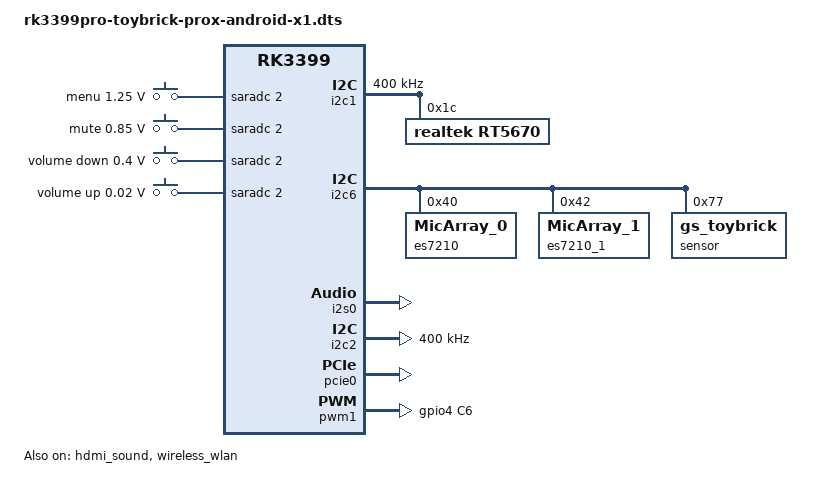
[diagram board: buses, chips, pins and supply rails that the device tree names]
// SPDX-License-Identifier: (GPL-2.0+ OR MIT)
/*
 * Copyright (c) 2019 Fuzhou Rockchip Electronics Co., Ltd
 *
 * This file is dual-licensed: you can use it either under the terms
 * of the GPL or the X11 license, at your option. Note that this dual
 * licensing only applies to this file, and not this project as a
 * whole.
 *
 *  a) This file is free software; you can redistribute it and/or
 *     modify it under the terms of the GNU General Public License as
 *     published by the Free Software Foundation; either version 2 of the
 *     License, or (at your option) any later version.
 *
 *     This file is distributed in the hope that it will be useful,
 *     but WITHOUT ANY WARRANTY; without even the implied warranty of
 *     MERCHANTABILITY or FITNESS FOR A PARTICULAR PURPOSE.  See the
 *     GNU General Public License for more details.
 *
 * Or, alternatively,
 *
 *  b) Permission is hereby granted, free of charge, to any person
 *     obtaining a copy of this software and associated documentation
 *     files (the "Software"), to deal in the Software without
 *     restriction, including without limitation the rights to use,
 *     copy, modify, merge, publish, distribute, sublicense, and/or
 *     sell copies of the Software, and to permit persons to whom the
 *     Software is furnished to do so, subject to the following
 *     conditions:
 *
 *     The above copyright notice and this permission notice shall be
 *     included in all copies or substantial portions of the Software.
 *
 *     THE SOFTWARE IS PROVIDED "AS IS", WITHOUT WARRANTY OF ANY KIND,
 *     EXPRESS OR IMPLIED, INCLUDING BUT NOT LIMITED TO THE WARRANTIES
 *     OF MERCHANTABILITY, FITNESS FOR A PARTICULAR PURPOSE AND
 *     NONINFRINGEMENT. IN NO EVENT SHALL THE AUTHORS OR COPYRIGHT
 *     HOLDERS BE LIABLE FOR ANY CLAIM, DAMAGES OR OTHER LIABILITY,
 *     WHETHER IN AN ACTION OF CONTRACT, TORT OR OTHERWISE, ARISING
 *     FROM, OUT OF OR IN CONNECTION WITH THE SOFTWARE OR THE USE OR
 *     OTHER DEALINGS IN THE SOFTWARE.
 */

/dts-v1/;
#include "rk3399pro-toybrick-prox.dtsi"
#include "rk3399-android.dtsi"
#include "rk3399pro-toybrick-prox-isp1-virtual-tc35874x-ctl-by-3399.dtsi"
#include "rk3399pro-toybrick-prox-isp1-imx317.dtsi"
#include "rk3399pro-toybrick-edp-1080p-hdmi.dtsi"

/ {
	compatible = "rockchip,rk3399pro-toybrick-prox-android","rockchip,rk3399pro";

	chosen {
		bootargs = "earlycon=uart8250,mmio32,0xff1a0000 swiotlb=1 console=ttyFIQ0 androidboot.baseband=N/A androidboot.selinux=permissive androidboot.hardware=rk30board androidboot.console=ttyFIQ0 init=/init initrd=0x62000001,0x00800000 coherent_pool=1m";
	};

	rt5672-sound {
		compatible = "rockchip-rt5670";
		status = "okay";
		dais {
			dai0 {
				audio-codec = <&rt5670>;
				audio-controller = <&i2s0>;
				format = "i2s";
			};
			dai1 {
				audio-codec = <&rt5670>;
				audio-controller = <&i2s0>;
				format = "i2s";
			};
			dai2 {
				audio-codec = <&es7210>;
				audio-controller = <&i2s0>;
				format = "i2s";
			};
		};
	};

	adc-keys {
		compatible = "adc-keys";
		io-channels = <&saradc 2>;
		io-channel-names = "buttons";
		poll-interval = <100>;
		keyup-threshold-microvolt = <1800000>;

		menu-key {
			linux,code = <KEY_MENU>;
			label = "menu";
			press-threshold-microvolt = <1250000>;
		};

		mute-key {
			linux,code = <KEY_MUTE>;
			label = "mute";
			press-threshold-microvolt = <850000>;
		};

		vol-down-key {
			linux,code = <KEY_VOLUMEDOWN>;
			label = "volume down";
			press-threshold-microvolt = <400000>;
		};

		vol-up-key {
			linux,code = <KEY_VOLUMEUP>;
			label = "volume up";
			press-threshold-microvolt = <20000>;
		};
	};
};

&tcphy0 {
	rockchip,force_usb2 = <1>;
};

&usbdrd_dwc3_0 {
	maximum-speed = "high-speed";
};

&rk_headset {
	status = "disabled";
};

&i2c1 {
	status = "okay";
	i2c-scl-rising-time-ns = <345>;
	i2c-scl-falling-time-ns = <11>;
	clock-frequency = <400000>;
	rt5670: rt5670@1c {
		#sound-dai-cell = <0>;
		compatible = "realtek,rt5670";
		reg = <0x1c>;
		status = "okay";
	};
};

&i2c6 {
	status = "okay";
	es7210: es7210@40 {
		#sound-dai-cells = <0>;
		compatible = "MicArray_0";
		reg = <0x40>;
		clocks = <&cru SCLK_I2S_8CH_OUT>;
		clock-names = "mclk";
		pinctrl-names = "default";
		pinctrl-0 = <&i2s_8ch_mclk>;
	};

	es7210_1: es7210@42 {
		compatible = "MicArray_1";
		reg = <0x42>;
	};

	sensor@77 {
		status = "okay";
		compatible = "gs_toybrick";
		reg = <0x77>;
		type = <SENSOR_TYPE_ACCEL>;
		reprobe_en = <1>;
		irq_enable = <0>;
		poll_delay_ms = <30>;
	};
};

&rk809_sound {
	status = "disabled";
};

&i2s0 {
       status = "okay";
       dmas = <&dmac_bus 0>, <&dmac_bus 1>;
       dma-names = "tx", "rx";
       #sound-dai-cells = <0>;
       clock-names = "i2s_clk", "i2s_mclk","i2s_hclk";
       clocks = <&cru SCLK_I2S0_8CH>, <&cru SCLK_I2S_8CH_OUT>, <&cru HCLK_I2S0_8CH>;
       pinctrl-names = "default";
       pinctrl-0 = <&i2s0_8ch_bus>;
	   rockchip,playback-channels = <8>;
	   rockchip,capture-channels = <8>;
};

&dp_sound {
	status = "disabled";
};

&hdmi_dp_sound {
	status = "disabled";
};

&hdmi_sound {
	status = "okay";
};

&i2c1 {
	status = "okay";
	i2c-scl-rising-time-ns = <300>;
	i2c-scl-falling-time-ns = <15>;
	clock-frequency=<400000>;
};

&i2c2 {
	status = "okay";
	i2c-scl-rising-time-ns = <300>;
	i2c-scl-falling-time-ns = <15>;
	clock-frequency=<400000>;
};

&isp0_mmu {
	status = "okay";
};

&isp1_mmu {
	status = "okay";
};

&route_hdmi {
	status = "disabled";
};

&route_dsi {
	status = "disabled";
};

&leds {
	status = "disabled";
};

&sdmmc {
	status = "disabled";
};


&pcie0 {
	status = "okay";
	max-link-speed = <2>;
	ep-gpios = <&gpio1 RK_PB1 GPIO_ACTIVE_HIGH>;
};

&sdio_pwrseq {
	status = "disabled";
};

&wireless_wlan {
	status = "okay";
	clocks = <&hym8563>;
	clock-names = "ext_clk";
	wifi_chip_type = "ap6275";
	WIFI,reset_gpio = <&gpio2 RK_PD3 GPIO_ACTIVE_HIGH>;
};

&pwm1 {
	status = "okay";
	interrupts = <GIC_SPI 61 IRQ_TYPE_LEVEL_HIGH 0>;
	compatible = "rockchip,remotectl-pwm";
	remote_pwm_id = <1>;
	handle_cpu_id = <1>;
	remote_support_psci = <0>;

	pinctrl-names = "default";
	pinctrl-0 = <&pwm1_pin>;

	ir_key1 {
		rockchip,usercode = <0x4040>;
		rockchip,key_table =
			<0xf2	KEY_REPLY>,
			<0xba	KEY_BACK>,
			<0xf4	KEY_UP>,
			<0xf1	KEY_DOWN>,
			<0xef	KEY_LEFT>,
			<0xee	KEY_RIGHT>,
			<0xbd	KEY_HOME>,
			<0xea	KEY_VOLUMEUP>,
			<0xe3	KEY_VOLUMEDOWN>,
			<0xe2	KEY_SEARCH>,
			<0xb2	KEY_POWER>,
			<0xbc	KEY_MUTE>,
			<0xec	KEY_MENU>,
			<0xbf	0x190>,
			<0xe0	0x191>,
			<0xe1	0x192>,
			<0xe9	183>,
			<0xe6	248>,
			<0xe8	185>,
			<0xe7	186>,
			<0xf0	388>,
			<0xbe	0x175>;
	};

	ir_key2 {
		rockchip,usercode = <0xff00>;
		rockchip,key_table =
			<0xf9	KEY_HOME>,
			<0xbf	KEY_BACK>,
			<0xfb	KEY_MENU>,
			<0xaa	KEY_ENTER>,
			<0xb9	KEY_UP>,
			<0xe9	KEY_DOWN>,
			<0xb8	KEY_LEFT>,
			<0xea	KEY_RIGHT>,
			<0xeb	KEY_VOLUMEDOWN>,
			<0xef	KEY_VOLUMEUP>,
			<0xf7	KEY_MUTE>,
			<0xe7	KEY_POWER>,
			<0xfc	KEY_POWER>,
			<0xa9	KEY_VOLUMEDOWN>,
			<0xa8	KEY_VOLUMEDOWN>,
			<0xe0	KEY_VOLUMEDOWN>,
			<0xa5	KEY_VOLUMEDOWN>,
			<0xab	183>,
			<0xb7	388>,
			<0xf8	184>,
			<0xaf	185>,
			<0xed	KEY_VOLUMEDOWN>,
			<0xee	186>,
			<0xb3	KEY_VOLUMEDOWN>,
			<0xf1	KEY_VOLUMEDOWN>,
			<0xf2	KEY_VOLUMEDOWN>,
			<0xf3	KEY_SEARCH>,
			<0xb4	KEY_VOLUMEDOWN>,
			<0xbe	KEY_SEARCH>;
	};

	ir_key3 {
		rockchip,usercode = <0x1dcc>;
		rockchip,key_table =
			<0xee	KEY_REPLY>,
			<0xf0	KEY_BACK>,
			<0xf8	KEY_UP>,
			<0xbb	KEY_DOWN>,
			<0xef	KEY_LEFT>,
			<0xed	KEY_RIGHT>,
			<0xfc	KEY_HOME>,
			<0xf1	KEY_VOLUMEUP>,
			<0xfd	KEY_VOLUMEDOWN>,
			<0xb7	KEY_SEARCH>,
			<0xff	KEY_POWER>,
			<0xf3	KEY_MUTE>,
			<0xbf	KEY_MENU>,
			<0xf9	0x191>,
			<0xf5	0x192>,
			<0xb3	388>,
			<0xbe	KEY_1>,
			<0xba	KEY_2>,
			<0xb2	KEY_3>,
			<0xbd	KEY_4>,
			<0xf9	KEY_5>,
			<0xb1	KEY_6>,
			<0xfc	KEY_7>,
			<0xf8	KEY_8>,
			<0xb0	KEY_9>,
			<0xb6	KEY_0>,
			<0xb5	KEY_BACKSPACE>;
	};
};

&pinctrl {
	usb3 {
		vcc5v0_host_en: vcc5v0-host-en {
			rockchip,pins =
				<2 RK_PA3 RK_FUNC_GPIO &pcfg_output_high>;
		};
	};

	lt9611 {
		lt9611_pwr: lt9611-pwr {
			rockchip,pins =
				<4 RK_PB3 RK_FUNC_GPIO &pcfg_output_high>;
		};
	};

	pwm1 {
		pwm1_pin: pwm1-pin {
			rockchip,pins =
				<4 RK_PC6 RK_FUNC_1 &pcfg_pull_none>;
		};
	};
};
